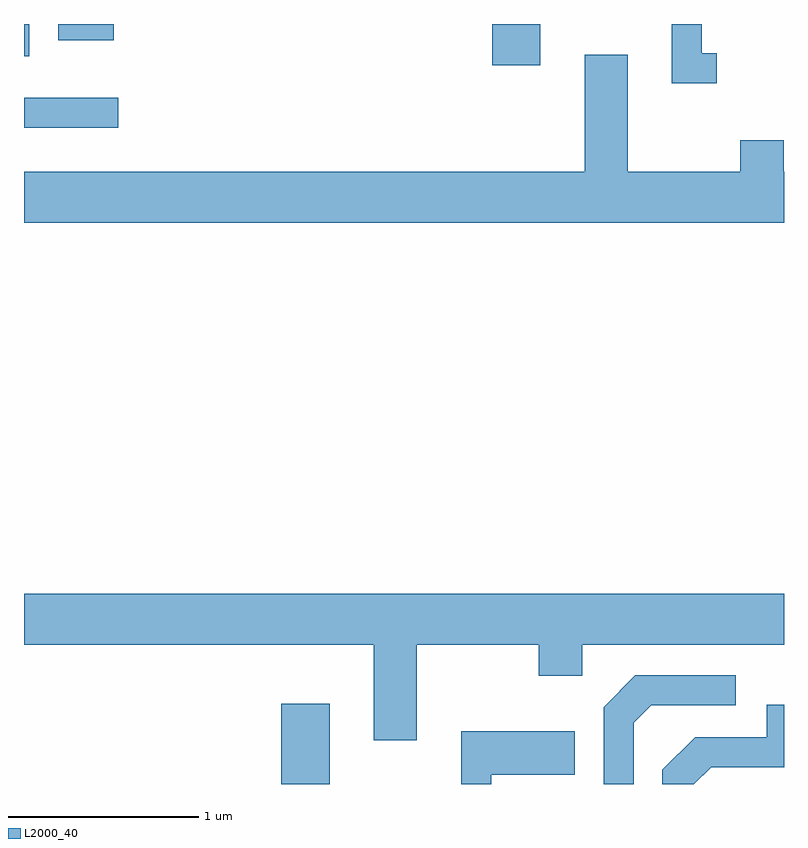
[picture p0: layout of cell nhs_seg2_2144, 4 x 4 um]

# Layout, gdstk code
import gdstk
lib = gdstk.Library(unit=1e-6, precision=1e-09)
def R(c, l, rs):  # rectangles x0, y0, x1, y1
    for r in rs: c.add(gdstk.rectangle(r[:2], r[2:], *l))
def P(c, l, *ps):  # polygons
    for p in ps: c.add(gdstk.Polygon(p, *l))
L2000_40 = (2000, 40)

nhs_seg2_2144 = lib.new_cell('nhs_seg2_2144')
R(nhs_seg2_2144, L2000_40, [(248.966,1049.802,249.219,1050.224), (247.611,1053.256,248.108,1053.414), (250.076,1053.586,250.329,1053.802), (247.611,1053.631,247.639,1053.802), (247.791,1053.716,248.084,1053.802)])
P(nhs_seg2_2144, L2000_40, [(251.258,1053.649),(251.179,1053.649),(251.179,1053.802),(251.021,1053.802),(251.021,1053.491),(251.258,1053.491)],
  [(251.611,1053.024),(251.609,1053.024),(251.609,1053.189),(251.381,1053.189),(251.381,1053.024),(250.789,1053.024),(250.789,1053.639),(250.561,1053.639),(250.561,1053.024),(247.611,1053.024),(247.611,1052.756),(251.611,1052.756)],
  [(249.679,1050.536),(250.321,1050.536),(250.321,1050.371),(250.549,1050.371),(250.549,1050.536),(251.611,1050.536),(251.611,1050.804),(247.611,1050.804),(247.611,1050.536),(249.451,1050.536),(249.451,1050.031),(249.679,1050.031)],
  [(250.819,1050.124),(250.912,1050.216),(251.358,1050.216),(251.358,1050.374),(250.829,1050.374),(250.661,1050.207),(250.661,1049.802),(250.819,1049.802)],
  [(251.227,1049.891),(251.611,1049.891),(251.611,1050.219),(251.521,1050.219),(251.521,1050.049),(251.144,1050.049),(250.971,1049.877),(250.971,1049.802),(251.137,1049.802)],
  [(250.069,1049.851),(250.509,1049.851),(250.509,1050.079),(249.911,1050.079),(249.911,1049.802),(250.069,1049.802)])

lib.write_gds('nhs_seg2_2144.gds')
